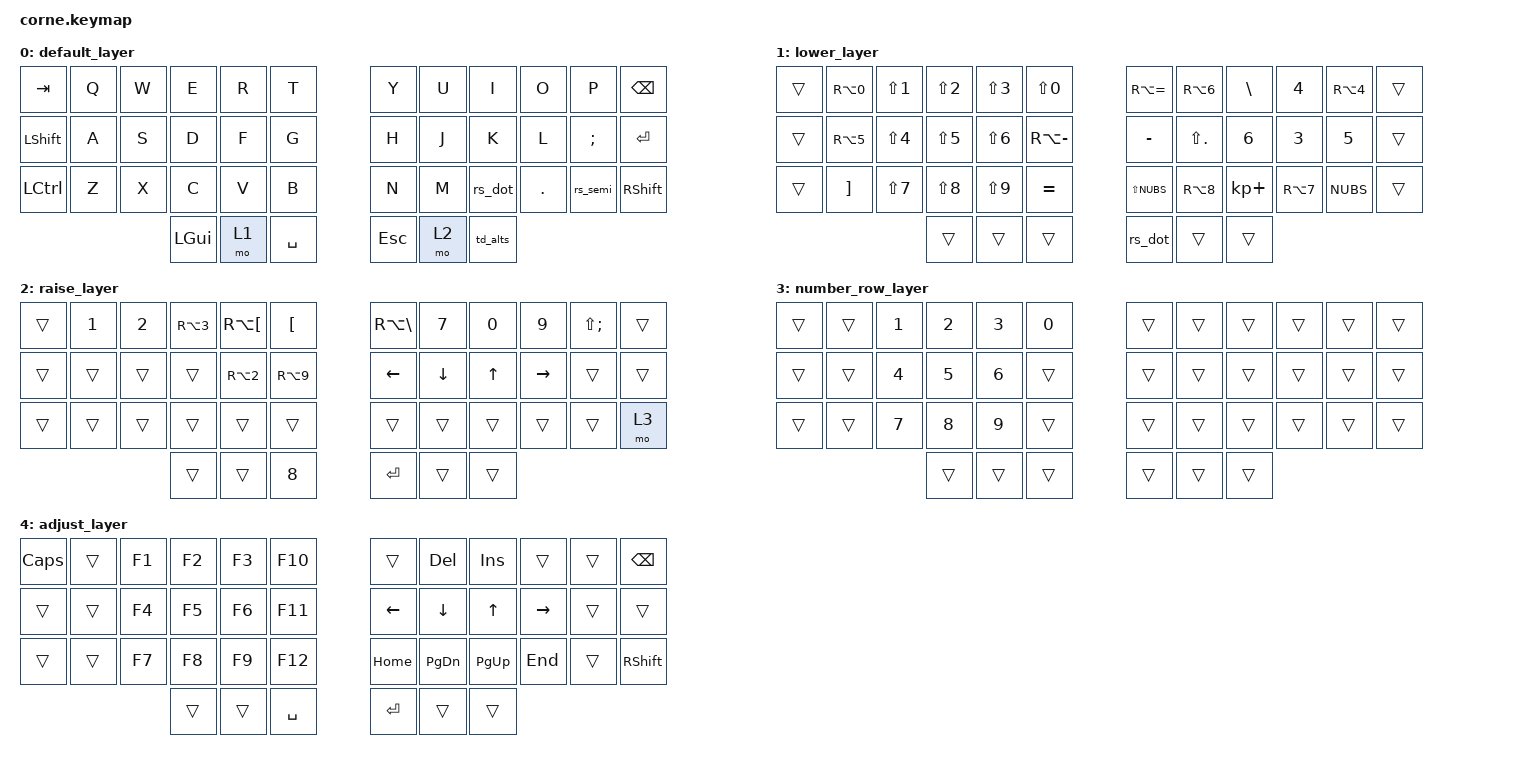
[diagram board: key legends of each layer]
/*
 * Copyright (c) 2020 The ZMK Contributors
 *
 * SPDX-License-Identifier: MIT
 */

#include <behaviors.dtsi>
#include <dt-bindings/zmk/keys.h>
#include <dt-bindings/zmk/bt.h>

/ {
    behaviors {
        // Mod morphs to send unshifted keycodes while pressing shift
        rs_dot: reverse_shift_dot_exclamation {
            compatible = "zmk,behavior-mod-morph";
            #binding-cells = <0>;
            bindings = <&kp RS(COMMA)>, <&kp FSLH>;
            mods = <(MOD_LSFT|MOD_RSFT)>;
        };
        rs_semi: reverse_shift_semicolon_equal {
            compatible = "zmk,behavior-mod-morph";
            #binding-cells = <0>;
            bindings = <&kp COMMA>, <&kp EQUAL>;
            mods = <(MOD_LSFT|MOD_RSFT)>;
        };
        // Tap dance for an alt-gr key that can work as regular alt too
        td_alts: tap_dance_both_alts {
            compatible = "zmk,behavior-tap-dance";
            #binding-cells = <0>;
            tapping-term-ms = <200>;
            bindings = <&kp RALT>, <&kp LALT>;
        };
    };
    conditional_layers {
        compatible = "zmk,conditional-layers";
        tri_layer {
            if-layers = <1 2>;
            then-layer = <4>;
        };
    };
    keymap {
        compatible = "zmk,keymap";

        default_layer {
// --------------------------------------------------------------------------------
// |  TAB |  A  |  Z  |  E  |  R  |  T  |   |  Y  |  U   |  I  |  O  |  P  | BKSP |
// | SHFT |  Q  |  S  |  D  |  F  |  G  |   |  H  |  J   |  K  |  L  |  M  | RET  |
// | CTRL |  W  |  X  |  C  |  V  |  B  |   |  N  |  ,   |  .  |  :  |  ;  | ESC  |
//                    | GUI | LWR | SPC |   | ESC | RSE  | ALT |
            bindings = <
    &kp TAB   &kp Q &kp W &kp E &kp R &kp T   &kp Y &kp U  &kp I   &kp O   &kp P    &kp BSPC
    &kp LSHFT &kp A &kp S &kp D &kp F &kp G   &kp H &kp J  &kp K   &kp L   &kp SEMI &kp RET
    &kp LCTRL &kp Z &kp X &kp C &kp V &kp B   &kp N &kp M  &rs_dot &kp DOT &rs_semi &kp RSHIFT
                  &kp LGUI &mo 1 &kp SPACE   &kp ESC &mo 2 &td_alts
            >;
        };

        lower_layer {
// -------------------------------------------------------------------------------
// |  TAB |  @  |  1  |  2  |  3  |  0  |   |  }  |  |  |  *  |  '  |  {  | BKSP |
// | SHFT |  [  |  4  |  5  |  6  |  ]  |   |  )  |  /  |  -  |  "  |  (  |      |
// | CTRL |  $  |  7  |  8  |  9  |  =  |   |  >  |  \  |  +  |  `  |  <  |      |
//                    | GUI |     | SPC |   |  .  |     | ALT |
            bindings = <
    &trans  &kp RA(N0)  &kp LS(N1)  &kp LS(N2)  &kp LS(N3)  &kp LS(N0)        &kp RA(EQUAL)  &kp RA(N6)   &kp BSLH     &kp N4      &kp RA(N4)  &trans
    &trans  &kp RA(N5)  &kp LS(N4)  &kp LS(N5)  &kp LS(N6)  &kp RA(MINUS)     &kp MINUS      &kp LS(DOT)  &kp N6       &kp N3      &kp N5      &trans
    &trans  &kp RBKT    &kp LS(N7)  &kp LS(N8)  &kp LS(N9)  &kp EQUAL         &kp LS(NUBS)   &kp RA(N8)   &kp KP_PLUS  &kp RA(N7)  &kp NUBS    &trans
                                              &trans  &trans  &trans             &rs_dot  &trans  &trans
            >;
        };

        raise_layer {
// -------------------------------------------------------------------------------
// |  TAB |  &  |  é  |  #  | _~  | _^  |   | _`  |  è  |  à  |  ç  |  %  | BKSP |
// | SHFT |     |     |     |  ~  |  ^  |   | LFT | DWN | UP  | RGT |     |      |
// | CTRL |     |     |     |     |     |   |     |     |     |     |     |      |
//                    | GUI |     |  _  |   | RET |     | ALT |
            bindings = <
    &trans  &kp N1  &kp N2  &kp RA(N3)  &kp RA(LBKT)  &kp LBKT         &kp RA(BSLH)  &kp N7    &kp N0  &kp N9     &kp LS(SEMI)  &trans
    &trans  &trans  &trans  &trans      &kp RA(N2)    &kp RA(N9)       &kp LEFT      &kp DOWN  &kp UP  &kp RIGHT  &trans        &trans
    &trans  &trans  &trans  &trans      &trans        &trans           &trans        &trans    &trans  &trans     &trans        &mo 3
                                       &trans  &trans  &kp N8           &kp RET  &trans   &trans
            >;
        };

        number_row_layer {
// -------------------------------------------------------
// |   |   | & | é | " | à |     |   |   |   |   |   |   |
// |   |   | ' | ( | - |   |     |   |   |   |   |   |   |
// |   |   | è | _ | ç |   |     |   |   |   |   |   |   |
//             |   |   |   |     |   |   |   |
            bindings = <
    &trans  &trans  &kp N1  &kp N2  &kp N3  &kp N0       &trans  &trans  &trans  &trans  &trans  &trans
    &trans  &trans  &kp N4  &kp N5  &kp N6  &trans       &trans  &trans  &trans  &trans  &trans  &trans
    &trans  &trans  &kp N7  &kp N8  &kp N9  &trans       &trans  &trans  &trans  &trans  &trans  &trans
                        &trans  &trans  &trans               &trans  &trans  &trans
            >;
        };

        adjust_layer {
// ------------------------------------------------------------------------------------
// |  TAB |     | F1  | F2  | F3  | F10 |   |      | INS  | DEL  |       |     | BKSP |
// | CAPS |     | F4  | F5  | F6  | F11 |   | LEFT | DOWN |  UP  | RIGHT |     |      |
// | CTRL |     | F7  | F8  | F9  | F12 |   | HOME | PGDN | PGUP |  END  |     |      |
//                    | GUI |     | SPC |   | RET  |      | ALT  |
            bindings = <
    &kp CAPS  &trans  &kp F1  &kp F2    &kp F3   &kp F10        &trans    &kp DEL    &kp INS    &trans     &trans  &kp BSPC
    &trans    &trans  &kp F4  &kp F5    &kp F6   &kp F11        &kp LEFT  &kp DOWN   &kp UP     &kp RIGHT  &trans  &trans
    &trans    &trans  &kp F7  &kp F8    &kp F9   &kp F12        &kp HOME  &kp PG_DN  &kp PG_UP  &kp END    &trans  &kp RSHIFT
                             &trans  &trans  &kp SPACE             &kp RET   &trans   &trans
            >;
        };
    };
};
